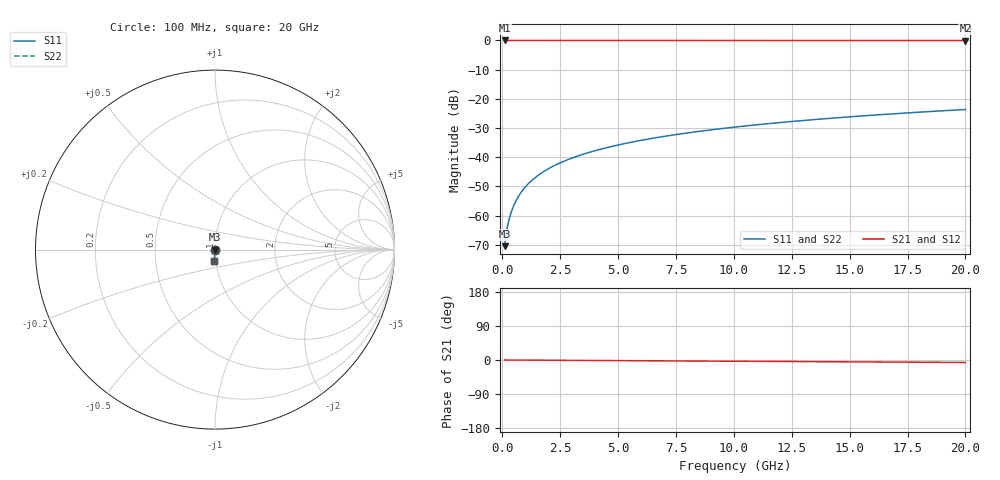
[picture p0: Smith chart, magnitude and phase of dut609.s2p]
! Touchstone file exported from HFSS 2026.1.0
!  File:  C:/ffzhzh/LocalFiles/Ansys_Project_Files/temp_train_TSV_609_1783025628_4048.aedt
!  Generated:  04:55:07 AM Jul  3, 2026
!  Design:  TSV
!  Project:  temp_train_TSV_609_1783025628_4048
! Variables:
!  h_bsmrdl = 2um
!  h_ox = 20um
!  h_rdl = 5um
!  h_sub = 55.07um
!  h_tmrdl = 5um
!  h_tsv = 55.07um
!  h_via = 3um
!  l_bsmrdl = 300um
!  l_sub = 423.72um
!  l_tmrdl = 200um
!  m_sub = 200um
!  pitch = 29.58um
!  r_tsv = 11.86um
!  s_tmrdl = 10um
!  w_bsmrdl = 18um
!  w_sub = 500um
!  w_tmrdl = 12um
!  x_tsv_center1 = 206um
!  x_tsv_center2 = 524um
!  x_tsv_center3 = 736um
!  x_tsv_center4 = 1054um
!  x_tsv_center5 = 1266um
!  x_tsv_center6 = 1584um
# GHz S MA R 50.000000
! Terminal data exported
! Port[1] = TSV1_1_T1
! Port[2] = TSV1_1_T2
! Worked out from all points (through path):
!   200 points, 100 MHz to 20 GHz, reference 50 ohm
!   highest |S21| = 0.00 dB at 100 MHz (marker M1); lowest = 0.0 dB at 20 GHz (marker M2)
!   lowest |S11| = -70.4 dB at 100 MHz (marker M3), VSWR 1.00, Z = 50 - j0.0288 ohm
!   |S11| at or under -10 dB: start of sweep to end of sweep
!   |S22| runs from -70.4 to -23.6 dB; largest |S21 - S12| = 1.7e-14
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0.1  0.0003009 -73.2  0.9999 -0.0  0.9999 -0.0  0.0003009 -73.2
! Gamma 0 0 0 0
! Port Impedance 50 0 50 0
0.2  0.0005889 -80.2  0.9999 -0.1  0.9999 -0.1  0.0005889 -80.2
0.3  0.0008874 -82.2  0.9999 -0.1  0.9999 -0.1  0.0008874 -82.2
0.4  0.001194 -83.2  0.9999 -0.1  0.9999 -0.1  0.001194 -83.2
0.5  0.001507 -83.8  0.9998 -0.2  0.9998 -0.2  0.001507 -83.8
0.7  0.002148 -84.6  0.9998 -0.2  0.9998 -0.2  0.002148 -84.6
0.8  0.002472 -85.0  0.9998 -0.3  0.9998 -0.3  0.002472 -85.0
1  0.003124 -85.6  0.9997 -0.3  0.9997 -0.3  0.003124 -85.6
1.2  0.003778 -86.1  0.9997 -0.4  0.9997 -0.4  0.003778 -86.1
1.4  0.004432 -86.6  0.9997 -0.5  0.9997 -0.5  0.004432 -86.6
1.7  0.005413 -87.1  0.9997 -0.6  0.9997 -0.6  0.005413 -87.1
2  0.006394 -87.6  0.9996 -0.7  0.9996 -0.7  0.006394 -87.6
2.7  0.008682 -88.3  0.9996 -0.9  0.9996 -0.9  0.008682 -88.3
3.5  0.0113 -88.9  0.9995 -1.2  0.9995 -1.2  0.0113 -88.9
4.2  0.0136 -89.4  0.9994 -1.4  0.9994 -1.4  0.0136 -89.4
5  0.01623 -89.8  0.9993 -1.6  0.9993 -1.6  0.01623 -89.8
6.8  0.02217 -90.6  0.9991 -2.2  0.9991 -2.2  0.02217 -90.6
8.3  0.02713 -91.3  0.9989 -2.7  0.9989 -2.7  0.02713 -91.3
10.1  0.03308 -92.0  0.9987 -3.3  0.9987 -3.3  0.03308 -92.0
13.4  0.04399 -93.2  0.9982 -4.4  0.9982 -4.4  0.04399 -93.2
16.7  0.05489 -94.4  0.9975 -5.4  0.9975 -5.4  0.05489 -94.4
20  0.06578 -95.6  0.9967 -6.5  0.9967 -6.5  0.06578 -95.6
